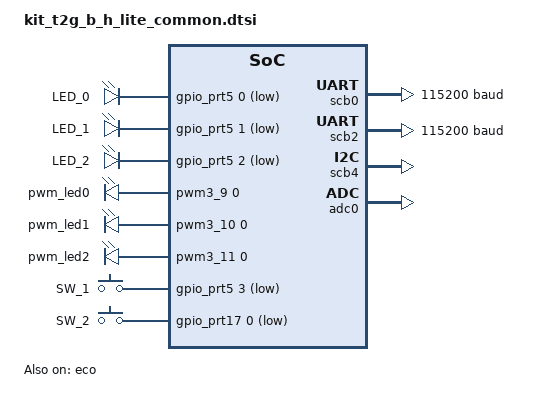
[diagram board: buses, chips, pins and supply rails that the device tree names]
/*
 * SPDX-FileCopyrightText: <text>Copyright (c) 2026 Infineon Technologies AG,
 * or an affiliate of Infineon Technologies AG. All rights reserved.</text>
 * Copyright (c) 2026 Linumiz
 * SPDX-License-Identifier: Apache-2.0
 */

#include <arm/infineon/cat1c/traveo/cyt4bf/system_clocks.dtsi>
#include <arm/infineon/cat1c/traveo/cyt4bf/cyt4bf8cds.dtsi>
#include <zephyr/dt-bindings/input/input-event-codes.h>
#include <zephyr/dt-bindings/pwm/pwm.h>

/ {
	aliases {
		led0 = &user_led0;
		led1 = &user_led1;
		led2 = &user_led2;
		sw0 = &user_bt0;
		sw1 = &user_bt1;
	};

	leds {
		compatible = "gpio-leds";

		user_led0: led_0 {
			label = "LED_0";
			gpios = <&gpio_prt5 0 GPIO_ACTIVE_LOW>;
		};

		user_led1: led_1 {
			label = "LED_1";
			gpios = <&gpio_prt5 1 GPIO_ACTIVE_LOW>;
		};

		user_led2: led_2 {
			label = "LED_2";
			gpios = <&gpio_prt5 2 GPIO_ACTIVE_LOW>;
		};
	};

	pwmleds {
		compatible = "pwm-leds";

		pwm_led0: pwm_led_0 {
			pwms = <&pwm3_9 0 PWM_MSEC(20) PWM_POLARITY_INVERTED>;
		};

		pwm_led1: pwm_led_1 {
			pwms = <&pwm3_10 0 PWM_MSEC(20) PWM_POLARITY_INVERTED>;
		};

		pwm_led2: pwm_led_2 {
			pwms = <&pwm3_11 0 PWM_MSEC(20) PWM_POLARITY_INVERTED>;
		};
	};

	gpio_keys {
		compatible = "gpio-keys";

		user_bt0: user_btn0 {
			label = "SW_1";
			gpios = <&gpio_prt5 3 (GPIO_PULL_UP | GPIO_ACTIVE_LOW)>;
			zephyr,code = <INPUT_KEY_0>;
		};

		user_bt1: user_btn1 {
			label = "SW_2";
			gpios = <&gpio_prt17 0 (GPIO_PULL_UP | GPIO_ACTIVE_LOW)>;
			zephyr,code = <INPUT_KEY_1>;
		};
	};

	reserved-memory {
		#address-cells = <1>;
		#size-cells = <1>;

		sram_m0plus: memory@28000800 {
			compatible = "mmio-sram";
			reg = <0x28000800 DT_SIZE_K(30)>;
		};

		sram_m7_0: memory@28004000 {
			compatible = "mmio-sram";
			reg = <0x28004000  DT_SIZE_K(224)>;
		};

		sram_m7_1: memory@280d0000 {
			compatible = "mmio-sram";
			reg = <0x280d0000 DT_SIZE_K(256)>;
		};
	};
};

&code_flash0 {
        partitions {
                ranges;
                #address-cells = <1>;
                #size-cells = <1>;

                m0p_partition: partition_m0p@0 {
                        compatible = "zephyr,mapped-partition";
                        label = "m0p_partition";
                        reg = <0x0 DT_SIZE_K(512)>;
                };

                m7_0_partition: partition@80000 {
                        compatible = "zephyr,mapped-partition";
                        label = "m7_0_partition";
                        reg = <0x80000 DT_SIZE_K(2656)>;
                };

                m7_1_partition: partition@280000 {
                        compatible = "zephyr,mapped-partition";
                        label = "m7_1_partition";
                        reg = <0x280000 DT_SIZE_K(3168)>;
                };
        };
};

uart0: &scb0 {
	compatible = "infineon,uart";
	current-speed = <115200>;
	dmas = <&dma1 16>, <&dma1 17>;
	dma-names = "tx", "rx";
	clocks = <&clk_peri1 30 0 0>;

	/* UART pins */
	pinctrl-0 = <&p0_1_scb0_uart_tx &p0_0_scb0_uart_rx
		     &p0_2_scb0_uart_rts &p0_3_scb0_uart_cts>;
	pinctrl-names = "default";
};

uart2: &scb2 {
	compatible = "infineon,uart";
	current-speed = <115200>;
	dmas = <&dma1 20>, <&dma1 21>;
	dma-names = "tx", "rx";
	clocks = <&clk_peri1 32 0 1>;

	/* UART pins */
	pinctrl-0 = <&p14_1_scb2_uart_tx &p14_0_scb2_uart_rx>;
	pinctrl-names = "default";
};

spi1: &scb3 {
	#address-cells = <1>;
	#size-cells = <0>;
	compatible = "infineon,spi";
	clocks = <&clk_peri1 33 1 3>;

	/* SPI pins */
	pinctrl-0 = <&p13_0_scb3_spi_m_miso &p13_1_scb3_spi_m_mosi &p13_2_scb3_spi_m_clk>;
	pinctrl-names = "default";
	cs-gpios = <&gpio_prt13 5 GPIO_ACTIVE_LOW>;

	dmas = <&dma1 22>, <&dma1 23>;
	dma-names = "tx", "rx";
};

i2c2: &scb4 {
        compatible = "infineon,i2c";
        #address-cells = <1>;
        #size-cells = <0>;
        clocks = <&clk_peri1 34 0 2>;
        /* I2C pins */
        pinctrl-0 = <&p6_1_scb4_i2c_sda &p6_2_scb4_i2c_scl>;
        pinctrl-names = "default";
        status = "okay";
};

&adc0 {
        #address-cells = <1>;
        #size-cells = <0>;
        clocks = <&clk_peri1 42 0 3>;
        clock-frequency = <26670000>;
        status = "okay";

};

&dma1 {
	status = "okay";
};

&gpio_prt5 {
	status = "okay";
};

&gpio_prt6 {
	status = "okay";
};

&gpio_prt17 {
	status = "okay";
};

&eco {
        status = "okay";
};

&pll0 {
        status = "okay";
};

&pll1 {
        status = "okay";
};

&pll2 {
        status = "okay";
};

&pll3 {
        status = "okay";
};

&clk_hf0 {
        status = "okay";
};

&clk_hf1 {
        status = "okay";
};

&clk_hf2 {
        status = "okay";
};

&clk_hf3 {
        status = "okay";
};

&clk_hf4 {
        status = "okay";
};

&clk_hf5 {
        status = "okay";
};

&clk_hf6 {
        status = "okay";
};

&clk_hf7 {
        status = "okay";
};

&clk_peri1 {
        status = "okay";
};
